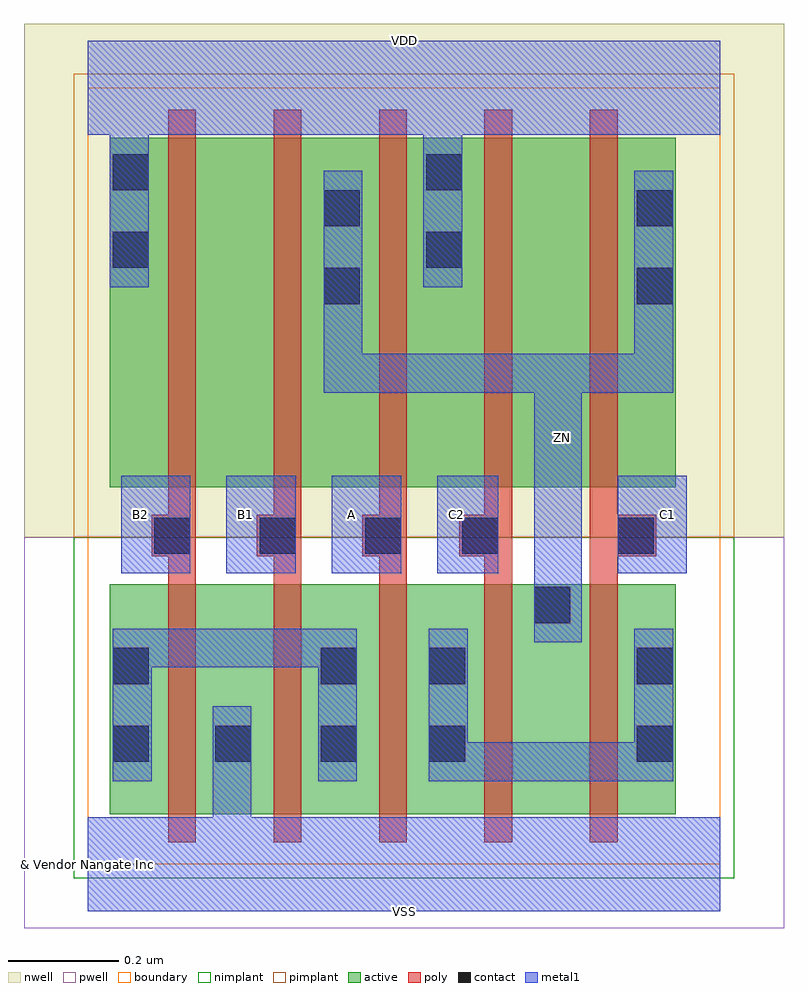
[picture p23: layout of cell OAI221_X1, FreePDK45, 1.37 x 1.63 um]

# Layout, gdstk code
import gdstk
lib = gdstk.Library(unit=1e-6, precision=1e-10)
def R(c, l, rs):  # rectangles x0, y0, x1, y1
    for r in rs: c.add(gdstk.rectangle(r[:2], r[2:], *l))
def A(c, l, x, y, w, h, nx, ny, dx, dy):  # array of equal rectangles
    R(c, l, [(x+i*dx, y+j*dy, x+i*dx+w, y+j*dy+h) for i in range(nx) for j in range(ny)])
def P(c, l, *ps):  # polygons
    for p in ps: c.add(gdstk.Polygon(p, *l))
active = (1, 0)
pwell = (2, 0)
nwell = (3, 0)
nimplant = (4, 0)
pimplant = (5, 0)
poly = (9, 0)
contact = (10, 0)
metal1 = (11, 0)
boundary = (235, 0)

oai221_x1 = lib.new_cell('OAI221_X1')
R(oai221_x1, active, [(0.04,0.09,1.06,0.505), (0.04,0.68,1.06,1.31)])
R(oai221_x1, pwell, [(-0.115,-0.115,1.255,0.59)])
R(oai221_x1, nwell, [(-0.115,0.59,1.255,1.515)])
R(oai221_x1, nimplant, [(-0.025,-0.025,1.165,0.59)])
R(oai221_x1, pimplant, [(-0.025,0.59,1.165,1.425)])
P(oai221_x1, poly, [(0.145,0.04),(0.145,0.555),(0.115,0.555),(0.115,0.63),(0.145,0.63),(0.145,1.36),(0.195,1.36),(0.195,0.04)],
  [(0.335,0.04),(0.335,0.555),(0.305,0.555),(0.305,0.63),(0.335,0.63),(0.335,1.36),(0.385,1.36),(0.385,0.04)],
  [(0.525,0.04),(0.525,0.555),(0.495,0.555),(0.495,0.63),(0.525,0.63),(0.525,1.36),(0.575,1.36),(0.575,0.04)],
  [(0.715,0.04),(0.715,0.555),(0.67,0.555),(0.67,0.63),(0.715,0.63),(0.715,1.36),(0.765,1.36),(0.765,0.04)],
  [(0.905,0.04),(0.905,1.36),(0.955,1.36),(0.955,0.63),(1.025,0.63),(1.025,0.555),(0.955,0.555),(0.955,0.04)])
A(oai221_x1, contact, 0.12, 0.56, 0.065, 0.065, 3, 1, 0.19, 0)
R(oai221_x1, contact, [(0.045,0.185,0.11,0.25), (0.23,0.185,0.295,0.25), (0.42,0.185,0.485,0.25), (0.615,0.185,0.68,0.25), (0.99,0.185,1.055,0.25), (0.045,0.325,0.11,0.39), (0.42,0.325,0.485,0.39), (0.615,0.325,0.68,0.39), (0.99,0.325,1.055,0.39), (0.805,0.435,0.87,0.5), (0.675,0.56,0.74,0.625), (0.955,0.56,1.02,0.625), (0.425,1.01,0.49,1.075), (0.99,1.01,1.055,1.075), (0.045,1.075,0.11,1.14), (0.61,1.075,0.675,1.14), (0.425,1.15,0.49,1.215), (0.99,1.15,1.055,1.215), (0.045,1.215,0.11,1.28), (0.61,1.215,0.675,1.28)])
A(oai221_x1, metal1, 0.06, 0.525, 0.125, 0.175, 3, 1, 0.19, 0)
R(oai221_x1, metal1, [(0.63,0.525,0.74,0.7), (0.955,0.525,1.08,0.7)])
P(oai221_x1, metal1, [(0.045,0.15),(0.045,0.425),(0.485,0.425),(0.485,0.15),(0.415,0.15),(0.415,0.355),(0.115,0.355),(0.115,0.15)],
  [(0.615,0.15),(0.615,0.425),(0.685,0.425),(0.685,0.22),(0.985,0.22),(0.985,0.425),(1.055,0.425),(1.055,0.15)],
  [(0.805,0.4),(0.805,0.85),(0.425,0.85),(0.425,1.25),(0.495,1.25),(0.495,0.92),(0.985,0.92),(0.985,1.25),(1.055,1.25),(1.055,0.85),(0.89,0.85),(0.89,0.4)],
  [(0,-0.085),(0,0.085),(0.225,0.085),(0.225,0.285),(0.295,0.285),(0.295,0.085),(1.14,0.085),(1.14,-0.085)],
  [(0.04,1.04),(0.04,1.315),(0,1.315),(0,1.485),(1.14,1.485),(1.14,1.315),(0.675,1.315),(0.675,1.04),(0.605,1.04),(0.605,1.315),(0.11,1.315),(0.11,1.04)])
R(oai221_x1, boundary, [(0,0,1.14,1.4)])
oai221_x1.add(gdstk.Label('A', (0.475,0.63), layer=11, texttype=0))
oai221_x1.add(gdstk.Label('B1', (0.285,0.63), layer=11, texttype=0))
oai221_x1.add(gdstk.Label('B2', (0.095,0.63), layer=11, texttype=0))
oai221_x1.add(gdstk.Label('C1', (1.045,0.63), layer=11, texttype=0))
oai221_x1.add(gdstk.Label('C2', (0.665,0.63), layer=11, texttype=0))
oai221_x1.add(gdstk.Label('VDD', (0.57,1.485), layer=11, texttype=0))
oai221_x1.add(gdstk.Label('VSS', (0.57,-0.085), layer=11, texttype=0))
oai221_x1.add(gdstk.Label('ZN', (0.855,0.77), layer=11, texttype=0))
oai221_x1.add(gdstk.Label('& Vendor Nangate Inc', (0,0), layer=63, texttype=63))
oai221_x1.add(gdstk.Label('& Product Open Cell Library', (0,0), layer=63, texttype=63))
oai221_x1.add(gdstk.Label('& Version 2010_12', (0,0), layer=63, texttype=63))
oai221_x1.add(gdstk.Label('& Instance OAI221_X1', (0,0), layer=63, texttype=63))

lib.write_gds('OAI221_X1.gds')
